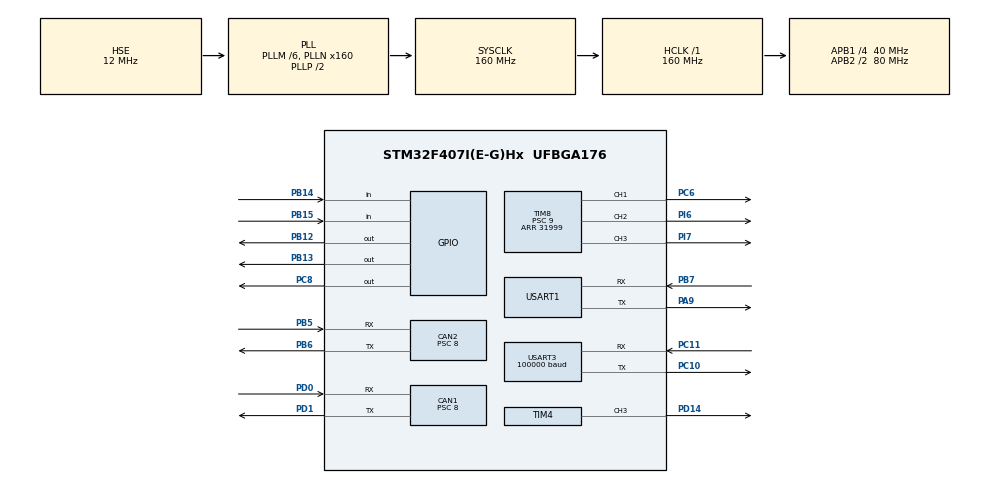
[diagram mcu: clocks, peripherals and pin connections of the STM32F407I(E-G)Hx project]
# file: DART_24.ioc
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CAN1.BS1=CAN_BS1_2TQ
CAN1.BS2=CAN_BS2_2TQ
CAN1.CalculateBaudRate=1000000
CAN1.CalculateTimeBit=1000
CAN1.CalculateTimeQuantum=200.0
CAN1.Prescaler=8
CAN2.BS1=CAN_BS1_2TQ
CAN2.BS2=CAN_BS2_2TQ
CAN2.CalculateBaudRate=1000000
CAN2.CalculateTimeBit=1000
CAN2.CalculateTimeQuantum=200.0
CAN2.Prescaler=8
Dma.Request0=USART3_RX
Dma.Request1=USART1_RX
Dma.USART1_RX.1.Direction=DMA_PERIPH_TO_MEMORY
Dma.USART1_RX.1.FIFOMode=DMA_FIFOMODE_DISABLE
Dma.USART1_RX.1.Instance=DMA2_Stream2
Dma.USART1_RX.1.MemDataAlignment=DMA_MDATAALIGN_BYTE
Dma.USART1_RX.1.MemInc=DMA_MINC_ENABLE
Dma.USART1_RX.1.Mode=DMA_NORMAL
Dma.USART1_RX.1.PeriphDataAlignment=DMA_PDATAALIGN_BYTE
Dma.USART1_RX.1.PeriphInc=DMA_PINC_DISABLE
Dma.USART1_RX.1.Priority=DMA_PRIORITY_HIGH
Dma.USART3_RX.0.Direction=DMA_PERIPH_TO_MEMORY
Dma.USART3_RX.0.FIFOMode=DMA_FIFOMODE_DISABLE
Dma.USART3_RX.0.Instance=DMA1_Stream1
Dma.USART3_RX.0.MemDataAlignment=DMA_MDATAALIGN_BYTE
Dma.USART3_RX.0.MemInc=DMA_MINC_ENABLE
Dma.USART3_RX.0.Mode=DMA_NORMAL
Dma.USART3_RX.0.PeriphDataAlignment=DMA_PDATAALIGN_BYTE
Dma.USART3_RX.0.PeriphInc=DMA_PINC_DISABLE
Dma.USART3_RX.0.Priority=DMA_PRIORITY_HIGH
FREERTOS.INCLUDE_vTaskDelayUntil=1
FREERTOS.INCLUDE_xEventGroupSetBitFromISR=1
FREERTOS.Tasks01=defaultTask,24,128,StartDefaultTask,Default,NULL,Dynamic,NULL,NULL;TaskInit,24,128,task_init,As weak,NULL,Dynamic,NULL,NULL
Mcu.Family=STM32F4
Mcu.Name=STM32F407I(E-G)Hx
Mcu.Package=UFBGA176
NVIC.CAN1_RX0_IRQn=true\:5\:0\:false\:false\:true\:true\:true\:true\:true
NVIC.CAN2_RX0_IRQn=true\:5\:0\:false\:false\:true\:true\:true\:true\:true
NVIC.DMA1_Stream1_IRQn=true\:5\:0\:false\:false\:true\:true\:false\:true\:true
NVIC.DMA2_Stream2_IRQn=true\:5\:0\:false\:false\:true\:true\:false\:true\:true
NVIC.PriorityGroup=NVIC_PRIORITYGROUP_4
NVIC.RCC_IRQn=true\:5\:0\:false\:false\:true\:true\:true\:false\:true
NVIC.TIM2_IRQn=true\:15\:0\:false\:false\:true\:false\:false\:true\:true
NVIC.TIM8_BRK_TIM12_IRQn=true\:5\:0\:false\:false\:true\:true\:true\:true\:true
NVIC.TIM8_UP_TIM13_IRQn=true\:5\:0\:false\:false\:true\:true\:true\:true\:true
NVIC.TimeBase=TIM2_IRQn
NVIC.TimeBaseIP=TIM2
NVIC.USART1_IRQn=true\:5\:0\:false\:false\:true\:true\:true\:true\:true
NVIC.USART3_IRQn=true\:5\:0\:true\:false\:true\:true\:true\:true\:true
PA13.Mode=Serial_Wire
PA13.Signal=SYS_JTMS-SWDIO
PA14.Mode=Serial_Wire
PA14.Signal=SYS_JTCK-SWCLK
PA9.Mode=Asynchronous
PA9.Signal=USART1_TX
PB12.Signal=GPIO_Output
PB13.Signal=GPIO_Output
PB14.Signal=GPIO_Input
PB15.GPIO_PuPd=GPIO_PULLUP
PB15.Signal=GPIO_Input
PB5.Mode=CAN_Activate
PB5.Signal=CAN2_RX
PB6.Mode=CAN_Activate
PB6.Signal=CAN2_TX
PB7.Mode=Asynchronous
PB7.Signal=USART1_RX
PC10.Mode=Asynchronous
PC10.Signal=USART3_TX
PC11.Mode=Asynchronous
PC11.Signal=USART3_RX
PC6.Signal=S_TIM8_CH1
PC8.Signal=GPIO_Output
PD0.GPIO_PuPd=GPIO_PULLUP
PD0.Mode=CAN_Activate
PD0.Signal=CAN1_RX
PD1.GPIO_PuPd=GPIO_PULLUP
PD1.Mode=CAN_Activate
PD1.Signal=CAN1_TX
PD14.Signal=S_TIM4_CH3
PE13.Signal=S_TIM1_CH3
PE14.Signal=S_TIM1_CH4
PE9.Signal=S_TIM1_CH1
PH0-OSC_IN.Mode=HSE-External-Oscillator
PH0-OSC_IN.Signal=RCC_OSC_IN
PH1-OSC_OUT.Mode=HSE-External-Oscillator
PH1-OSC_OUT.Signal=RCC_OSC_OUT
PI6.Signal=S_TIM8_CH2
PI7.Signal=S_TIM8_CH3
ProjectManager.HeapSize=0x200
ProjectManager.StackSize=0x400
ProjectManager.TargetToolchain=STM32CubeIDE
RCC.48MHZClocksFreq_Value=80000000
RCC.AHBFreq_Value=160000000
RCC.APB1CLKDivider=RCC_HCLK_DIV4
RCC.APB1Freq_Value=40000000
RCC.APB1TimFreq_Value=80000000
RCC.APB2CLKDivider=RCC_HCLK_DIV2
RCC.APB2Freq_Value=80000000
RCC.APB2TimFreq_Value=160000000
RCC.CortexFreq_Value=160000000
RCC.HCLKFreq_Value=160000000
RCC.HSE_VALUE=12000000
RCC.HSI_VALUE=16000000
RCC.LSE_VALUE=32768
RCC.PLLM=6
RCC.PLLN=160
RCC.PLLSourceVirtual=RCC_PLLSOURCE_HSE
RCC.SYSCLKFreq_VALUE=160000000
RCC.SYSCLKSource=RCC_SYSCLKSOURCE_PLLCLK
RCC.VCOOutputFreq_Value=320000000
SH.S_TIM1_CH1.0=TIM1_CH1
SH.S_TIM1_CH3.0=TIM1_CH3
SH.S_TIM1_CH4.0=TIM1_CH4
SH.S_TIM4_CH3.0=TIM4_CH3,PWM Generation3 CH3
SH.S_TIM8_CH1.0=TIM8_CH1,PWM Generation1 CH1
SH.S_TIM8_CH2.0=TIM8_CH2,PWM Generation2 CH2
SH.S_TIM8_CH3.0=TIM8_CH3,PWM Generation3 CH3
TIM4.Channel-PWM\ Generation3\ CH3=TIM_CHANNEL_3
TIM4.Period=19999
TIM4.Prescaler=19
TIM8.Channel-PWM\ Generation1\ CH1=TIM_CHANNEL_1
TIM8.Channel-PWM\ Generation2\ CH2=TIM_CHANNEL_2
TIM8.Channel-PWM\ Generation3\ CH3=TIM_CHANNEL_3
TIM8.Period=31999
TIM8.Prescaler=9
USART1.VirtualMode=VM_ASYNC
USART3.BaudRate=100000
USART3.Mode=MODE_RX
USART3.Parity=PARITY_EVEN
USART3.VirtualMode=VM_ASYNC
USART3.WordLength=WORDLENGTH_9B
VP_FREERTOS_VS_CMSIS_V2.Mode=CMSIS_V2
VP_SYS_VS_tim2.Mode=TIM2
VP_TIM4_VS_ClockSourceINT.Mode=Internal
VP_TIM8_VS_ClockSourceINT.Mode=Internal
board=custom

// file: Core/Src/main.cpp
/* USER CODE BEGIN Header */
/**
 ******************************************************************************
 * @file           : main.c
 * @brief          : Main program body
 ******************************************************************************
 * @attention
 *
 * Copyright (c) 2024 STMicroelectronics.
 * All rights reserved.
 *
 * This software is licensed under terms that can be found in the LICENSE file
 * in the root directory of this software component.
 * If no LICENSE file comes with this software, it is provided AS-IS.
 *
 ******************************************************************************
 */
/* USER CODE END Header */
#include "main.h"
#include "cmsis_os.h"
#include "can.h"
#include "dma.h"
#include "tim.h"
#include "usart.h"
#include "gpio.h"

/* USER CODE BEGIN Includes */
#include "string.h"
#include "dbus.h"
#include "judge_receive.h"
#include "motor.h"
#include "controller.h"
#include "state_machine.h"
#include "dart_param.h"
/* USER CODE END Includes */

void SystemClock_Config(void);

void MX_FREERTOS_Init(void);

/* USER CODE BEGIN 0 */

/*---------------------------------function of freertos begin------------------------------------*/

void task_init(void *argument) {
    // -----------------interface start-------------------
    DT7_init();

    HAL_TIM_Base_Start(&htim4);
    HAL_TIM_PWM_Start(&htim4, TIM_CHANNEL_3);

    // GPIO Interface
    HAL_GPIO_WritePin(GPIOC, GPIO_PIN_8, GPIO_PIN_SET); // 激光开关
    // -----------------interface end-------------------

    // -----------------task spawner begin-------------------
    //
    xTaskCreate(motor_controller::control_node_spawner, "control_node", 256, NULL, 6, nullptr);
    xTaskCreate(state_machine::fsm_thread, "fsm", 2048, nullptr, 6, nullptr);

    HAL_UARTEx_ReceiveToIdle_DMA(&huart3, uart3RecBuffer, UART3_MAX_RECEIVE_BUFFER_LENGTH);
    HAL_UARTEx_ReceiveToIdle_DMA(&huart1, judge_rx_buffer[MEMORY0], UART6_MAX_RECEIVE_BUFFER_LENGTH);

    vTaskDelete(nullptr);
    // -----------------task spawner end-------------------
}

/* USER CODE END 0 */

int main(void) {

    /* MCU Configuration--------------------------------------------------------*/

    /* Reset of all peripherals, Initializes the Flash interface and the Systick. */
    HAL_Init();

    /* USER CODE BEGIN Init */
    // 先将时钟源选择为内部时钟
    RCC_OscInitTypeDef RCC_OscInitStruct = {0};
    RCC_ClkInitTypeDef RCC_ClkInitStruct = {0};
    RCC_ClkInitStruct.ClockType = RCC_CLOCKTYPE_SYSCLK;
    RCC_ClkInitStruct.SYSCLKSource = RCC_SYSCLKSOURCE_HSI;
    if (HAL_RCC_ClockConfig(&RCC_ClkInitStruct, FLASH_LATENCY_5) != HAL_OK) {
        Error_Handler();
    }
    /* USER CODE END Init */

    /* Configure the system clock */
    SystemClock_Config();

    /* USER CODE BEGIN SysInit */
    HAL_Delay(2000); // 等待电源稳定
    /* USER CODE END SysInit */

    /* Initialize all configured peripherals */
    MX_GPIO_Init();
    MX_DMA_Init();
    MX_CAN1_Init();
    MX_TIM8_Init();
    MX_USART3_UART_Init();
    MX_USART1_UART_Init();
    MX_TIM4_Init();
    MX_CAN2_Init();
    /* USER CODE BEGIN 2 */

    HAL_Delay(1000); // 等待外设稳定
    CAN_FilterTypeDef sFilterConfig;

    sFilterConfig.FilterBank = 0;
    sFilterConfig.FilterMode = CAN_FILTERMODE_IDMASK;
    sFilterConfig.FilterScale = CAN_FILTERSCALE_32BIT;
    sFilterConfig.FilterIdHigh = 0x0000;
    sFilterConfig.FilterIdLow = 0x0000;
    sFilterConfig.FilterMaskIdHigh = 0x0000;
    sFilterConfig.FilterMaskIdLow = 0x0000;
    sFilterConfig.FilterFIFOAssignment = CAN_RX_FIFO0;
    sFilterConfig.FilterActivation = ENABLE;
    sFilterConfig.SlaveStartFilterBank = 14;
    HAL_CAN_ConfigFilter(&hcan1, &sFilterConfig);
    HAL_CAN_Start(&hcan1);
    HAL_CAN_ActivateNotification(&hcan1, CAN_IT_RX_FIFO0_MSG_PENDING);

    sFilterConfig.FilterBank = 14;
    HAL_CAN_ConfigFilter(&hcan2, &sFilterConfig);
    HAL_CAN_Start(&hcan2);
    HAL_CAN_ActivateNotification(&hcan2, CAN_IT_RX_FIFO0_MSG_PENDING);

    HAL_Delay(4000); // 等待外设稳定
    /* USER CODE END 2 */

    /* Init scheduler */
    osKernelInitialize();

    /* Call init function for freertos objects (in freertos.c) */
    MX_FREERTOS_Init();

    /* Start scheduler */
    osKernelStart();

    /* We should never get here as control is now taken by the scheduler */
    /* Infinite loop */
    while (1) {

    }
}

void SystemClock_Config(void) {
    RCC_OscInitTypeDef RCC_OscInitStruct = {0};
    RCC_ClkInitTypeDef RCC_ClkInitStruct = {0};

    /** Configure the main internal regulator output voltage
    */
    __HAL_RCC_PWR_CLK_ENABLE();
    __HAL_PWR_VOLTAGESCALING_CONFIG(PWR_REGULATOR_VOLTAGE_SCALE1);

    /** Initializes the RCC Oscillators according to the specified parameters
    * in the RCC_OscInitTypeDef structure.
    */
    RCC_OscInitStruct.OscillatorType = RCC_OSCILLATORTYPE_HSE;
    RCC_OscInitStruct.HSEState = RCC_HSE_ON;
    RCC_OscInitStruct.PLL.PLLState = RCC_PLL_ON;
    RCC_OscInitStruct.PLL.PLLSource = RCC_PLLSOURCE_HSE;
    RCC_OscInitStruct.PLL.PLLM = 6;
    RCC_OscInitStruct.PLL.PLLN = 160;
    RCC_OscInitStruct.PLL.PLLP = RCC_PLLP_DIV2;
    RCC_OscInitStruct.PLL.PLLQ = 4;
    if (HAL_RCC_OscConfig(&RCC_OscInitStruct) != HAL_OK) {
        Error_Handler();
    }

    /** Initializes the CPU, AHB and APB buses clocks
    */
    RCC_ClkInitStruct.ClockType = RCC_CLOCKTYPE_HCLK | RCC_CLOCKTYPE_SYSCLK
                                  | RCC_CLOCKTYPE_PCLK1 | RCC_CLOCKTYPE_PCLK2;
    RCC_ClkInitStruct.SYSCLKSource = RCC_SYSCLKSOURCE_PLLCLK;
    RCC_ClkInitStruct.AHBCLKDivider = RCC_SYSCLK_DIV1;
    RCC_ClkInitStruct.APB1CLKDivider = RCC_HCLK_DIV4;
    RCC_ClkInitStruct.APB2CLKDivider = RCC_HCLK_DIV2;

    if (HAL_RCC_ClockConfig(&RCC_ClkInitStruct, FLASH_LATENCY_5) != HAL_OK) {
        Error_Handler();
    }
}

/* USER CODE BEGIN 4 */
/*---------------------------------function of interrupt begin------------------------------------*/
// 遥控&裁判系统解码
void HAL_UARTEx_RxEventCallback(UART_HandleTypeDef *huart, uint16_t Size) {
    if (huart == &huart3 && huart->RxEventType == HAL_UART_RXEVENT_IDLE
            ) {
        if (Size == 18U) {
            memcpy(RC_rx_buffer, uart3RecBuffer, Size);
            DT7_Decode();
        }

        memset(uart3RecBuffer, 0, UART3_MAX_RECEIVE_BUFFER_LENGTH);
        HAL_UARTEx_ReceiveToIdle_DMA(&huart3, uart3RecBuffer, UART3_MAX_RECEIVE_BUFFER_LENGTH);
    } else if (huart == &huart1 && huart->RxEventType == HAL_UART_RXEVENT_IDLE
            ) {
        // 双缓冲接收
        static uint8_t decode_memory_ = MEMORY0;
        HAL_UARTEx_ReceiveToIdle_DMA(&huart1, judge_rx_buffer[(decode_memory_ + 1) % 2],
                                     UART6_MAX_RECEIVE_BUFFER_LENGTH);
        RefereeReceive(Size, judge_rx_buffer[decode_memory_]
        );
        decode_memory_ = (decode_memory_ + 1) % 2;
    }
}

void HAL_UART_ErrorCallback(UART_HandleTypeDef *huart) {
    if (huart == &huart1 || huart == &huart3) {
        __HAL_UART_CLEAR_FLAG(huart, UART_FLAG_RXNE);
        __HAL_UART_CLEAR_OREFLAG(huart);
        __HAL_UART_ENABLE_IT(huart, UART_IT_RXNE);
        __HAL_UART_ENABLE_IT(huart, UART_IT_ERR);
        huart->ErrorCode = HAL_UART_ERROR_NONE;
        huart->gState = HAL_UART_STATE_READY;
        huart->RxState = HAL_UART_STATE_READY;
    }
}

// CAN接收中断
void HAL_CAN_RxFifo0MsgPendingCallback(CAN_HandleTypeDef *hcan) {
    CAN_RxHeaderTypeDef RxHeader;
    uint8_t aData[8];
    if (hcan == &hcan1) {
        HAL_CAN_GetRxMessage(hcan, CAN_RX_FIFO0, &RxHeader, aData);
        switch (RxHeader.StdId) {
            case 0x201: {
                motor::MotorLS.decode(&RxHeader, aData);
                break;
            }
            case 0x202: {
                motor::MotorDM.decode(&RxHeader, aData);
                break;
            }
            case 0x209: {
                motor::MotorY.decode(&RxHeader, aData);
                break;
            }
            default: {
                break;
            }
        }
    }
    if (hcan == &hcan2) {
        HAL_CAN_GetRxMessage(hcan, CAN_RX_FIFO0, &RxHeader, aData);
        if (RxHeader.ExtId >= 0x901 && RxHeader.ExtId <= 0x904)
            motor::MotorFW[(RxHeader.ExtId - 0x901)].
                    decode(&RxHeader, aData
            );
        switch (RxHeader.StdId) {
            case 0x711: {
                can_param_decode(&RxHeader, aData
                );
                break;
            }
            default: {
                break;
            }
        }
    }
}

/*---------------------------------function of interrupt end------------------------------------*/
/* USER CODE END 4 */

void HAL_TIM_PeriodElapsedCallback(TIM_HandleTypeDef *htim) {
    if (htim->Instance == TIM2) {
        HAL_IncTick();
    }
}

void Error_Handler(void) {
    __disable_irq();
    while (1) {
    }
}

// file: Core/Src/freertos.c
/* USER CODE BEGIN Header */
/**
  ******************************************************************************
  * File Name          : freertos.c
  * Description        : Code for freertos applications
  ******************************************************************************
  * @attention
  *
  * Copyright (c) 2024 STMicroelectronics.
  * All rights reserved.
  *
  * This software is licensed under terms that can be found in the LICENSE file
  * in the root directory of this software component.
  * If no LICENSE file comes with this software, it is provided AS-IS.
  *
  ******************************************************************************
  */
/* USER CODE END Header */

#include "FreeRTOS.h"
#include "task.h"
#include "main.h"
#include "cmsis_os.h"

/* Definitions for defaultTask */
osThreadId_t defaultTaskHandle;
const osThreadAttr_t defaultTask_attributes = {
  .name = "defaultTask",
  .stack_size = 128 * 4,
  .priority = (osPriority_t) osPriorityNormal,
};
/* Definitions for TaskInit */
osThreadId_t TaskInitHandle;
const osThreadAttr_t TaskInit_attributes = {
  .name = "TaskInit",
  .stack_size = 128 * 4,
  .priority = (osPriority_t) osPriorityNormal,
};

void StartDefaultTask(void *argument);
void task_init(void *argument);

void MX_FREERTOS_Init(void); /* (MISRA C 2004 rule 8.1) */

void MX_FREERTOS_Init(void) {

  /* Create the thread(s) */
  /* creation of defaultTask */
  defaultTaskHandle = osThreadNew(StartDefaultTask, NULL, &defaultTask_attributes);

  /* creation of TaskInit */
  TaskInitHandle = osThreadNew(task_init, NULL, &TaskInit_attributes);

}

void StartDefaultTask(void *argument)
{
  for(;;)
  {
    osDelay(1);
  }
}

__weak void task_init(void *argument)
{
  for(;;)
  {
    osDelay(1);
  }
}
